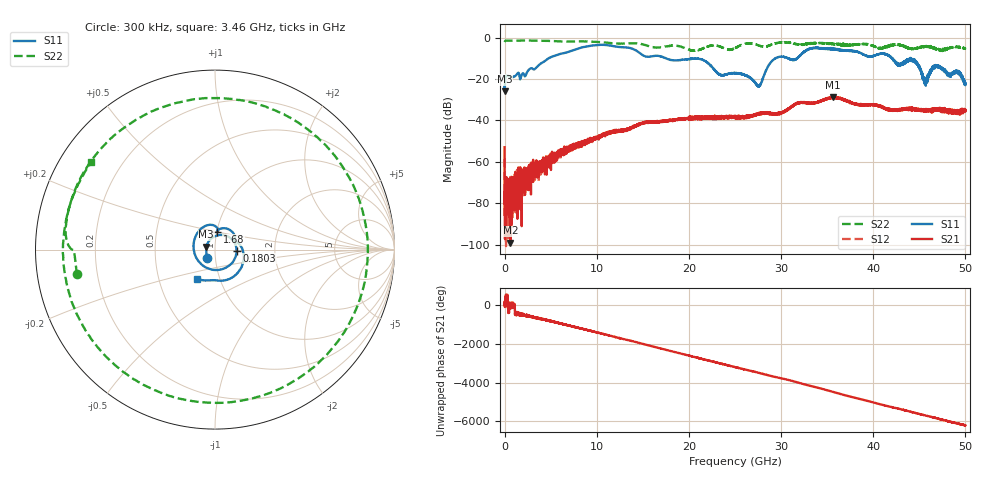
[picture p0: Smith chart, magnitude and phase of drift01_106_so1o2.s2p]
!Created with skrf (http://scikit-rf.org).
# Hz S RI R 50.0
!freq ReS11 ImS11 ReS21 ImS21 ReS12 ImS12 ReS22 ImS22
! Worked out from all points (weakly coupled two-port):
!   10001 points, 300 kHz to 50 GHz, reference 50 ohm
!   highest |S21| = -28.71 dB at 35.66 GHz (marker M1); lowest = -99.1 dB at 625.3 MHz (marker M2)
!   lowest |S11| = -25.8 dB at 5.3 MHz (marker M3), VSWR 1.11, Z = 45.3 + j1.4 ohm
!   |S11| at or under -10 dB: start of sweep to 4.768 GHz; 17.53 GHz to 29.37 GHz (11.84 GHz wide, 50.5 % of centre); 44.05 GHz to end of sweep (the widest 3 of 12)
!   |S22| runs from -6.5 to -1.4 dB; largest |S21 - S12| = 0.0042
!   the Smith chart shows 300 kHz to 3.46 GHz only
!   S11 on the Smith chart (normalised r, x): 300 kHz: 0.91, -0.08; 180.3 MHz: 1.27, -0.01; 1.68 GHz: 1.01, +0.20; 3.46 GHz: 0.77, -0.26
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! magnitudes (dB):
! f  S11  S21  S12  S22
! 300 kHz  -23.8  -52.9  -58.5  -2.1
! 5.3 MHz  -25.8  -80.3  -76.9  -2.1
! 180.3 MHz  -18.4  -77.6  -70.9  -1.4
! 625.3 MHz  -18.9  -99.1  -73.4  -1.5
! 1.68 GHz  -20.1  -67.7  -68.5  -1.4
! 3.46 GHz  -14.3  -63.1  -63.8  -1.5
! 8.335 GHz  -4.8  -51.7  -50.5  -1.8
! 16.67 GHz  -8.8  -40.7  -40.5  -4.8
! 21.22 GHz  -10.3  -39.2  -38.4  -5.7
! 23.39 GHz  -17.9  -38.2  -38.9  -4.4
! 25 GHz  -17.0  -38.3  -38.1  -5.1
! 27.59 GHz  -23.5  -36.6  -36.8  -3.8
! 29.28 GHz  -10.3  -36.8  -36.9  -2.9
! 31.47 GHz  -10.7  -32.5  -32.4  -2.9
! 33.34 GHz  -5.1  -31.7  -31.6  -2.7
! 35.66 GHz  -5.6  -28.7  -29.0  -3.0
! 41.67 GHz  -8.7  -34.7  -34.9  -4.1
! 42.74 GHz  -12.9  -35.2  -34.6  -3.4
! 44.47 GHz  -11.3  -34.7  -34.5  -5.3
! 45.63 GHz  -21.5  -35.2  -35.3  -4.3
! 46.96 GHz  -13.5  -35.0  -34.7  -5.6
! 50 GHz  -21.9  -35.4  -35.2  -5.4
